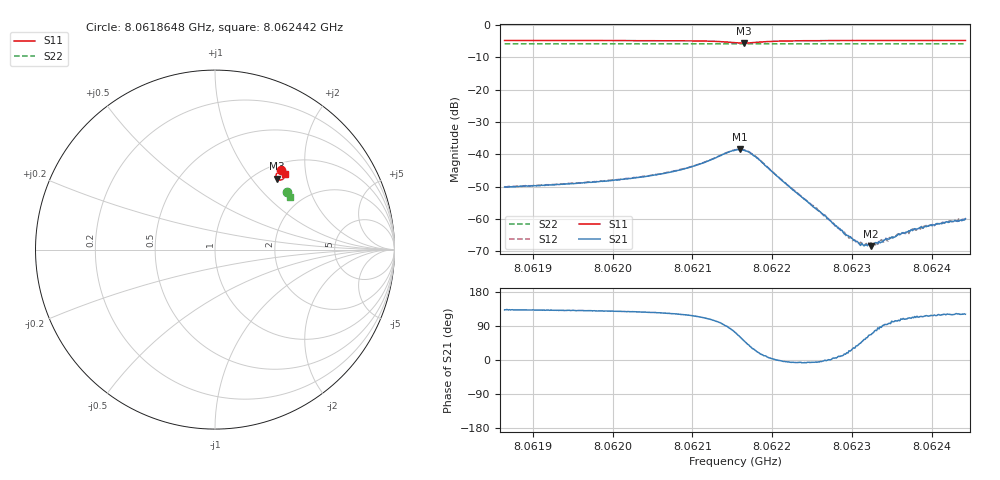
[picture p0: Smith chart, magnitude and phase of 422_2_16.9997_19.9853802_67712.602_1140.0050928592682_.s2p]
#  HZ  S  RI  R  50.00
! Rohde & Schwarz Vector Network Analyzer
! Rohde-Schwarz,ZNB20-2Port,1311601062101988,3.16
! Created: UTC 3/20/2024, 11:11:00 PM
! freq[Hz]  re:S11  im:S11  re:S21  im:S21  re:S12  im:S12  re:S22  im:S22
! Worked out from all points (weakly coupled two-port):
!   401 points, 8.0618648 GHz to 8.062442 GHz, reference 50 ohm
!   highest |S21| = -38.48 dB at 8.0621592 GHz (marker M1); lowest = -68.4 dB at 8.0623237 GHz (marker M2)
!   lowest |S11| = -5.6 dB at 8.062165 GHz (marker M3), VSWR 3.21, Z = 62.1 + j67.7 ohm
!   |S11| at or under -10 dB: nowhere
!   |S22| runs from -5.9 to -5.8 dB; largest |S21 - S12| = 0.00082
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8.06186484e9  0.3684 0.443  -0.00211 0.00231  -0.002 0.00245  0.3997 0.3198
8.06196152e9  0.3754 0.4366  -0.00235 0.00275  -0.00221 0.0029  0.4036 0.3148
8.06205819e9  0.3833 0.4268  -0.00279 0.00405  -0.00255 0.00422  0.4072 0.3097
8.06210292e9  0.3875 0.4161  -0.00291 0.00597  -0.00259 0.00621  0.4087 0.3071
8.06215342e9  0.3647 0.3876  0.00345 0.0111  0.0041 0.011  0.409 0.3037
8.0621592e9  0.3552 0.389  0.0056 0.0105  0.00619 0.0103  0.4088 0.3036
8.06216497e9  0.3465 0.3946  0.00739 0.00887  0.00796 0.00859  0.4087 0.3038
8.06217218e9  0.3404 0.4058  0.00856 0.00624  0.00894 0.00587  0.4088 0.3039
8.06218228e9  0.3414 0.4203  0.00807 0.00301  0.00827 0.00255  0.4094 0.3042
8.06221836e9  0.3622 0.4355  0.0034 -0.000269  0.00336 -0.000484  0.4117 0.3028
8.0622501e9  0.3719 0.4345  0.00159 -0.00016  0.0016 -0.000277  0.4134 0.3011
8.06229483e9  0.3793 0.4314  0.000529 0.000174  0.000519 0.00017  0.4151 0.2988
8.06231215e9  0.3814 0.4303  0.00028 0.00031  0.000302 0.0003  0.4155 0.2978
8.06232369e9  0.3826 0.4295  0.000149 0.00035  0.000144 0.000407  0.4159 0.2971
8.06232946e9  0.3833 0.4291  8.67e-05 0.000424  0.00011 0.000384  0.4164 0.297
8.06233379e9  0.3836 0.4287  6.43e-05 0.000442  7.69e-05 0.00047  0.4165 0.2966
8.06234678e9  0.385 0.428  -6.05e-05 0.000486  -3.06e-05 0.000516  0.417 0.296
8.06237564e9  0.3873 0.4261  -0.000259 0.000608  -0.000223 0.000662  0.4178 0.2945
8.06238285e9  0.3879 0.4257  -0.000276 0.000657  -0.000234 0.000654  0.4182 0.2941
8.06239006e9  0.3885 0.4253  -0.00032 0.000677  -0.000277 0.000721  0.4185 0.2937
8.06242037e9  0.3907 0.4236  -0.000455 0.000758  -0.0004 0.000814  0.4196 0.292
8.06244201e9  0.3923 0.4222  -0.000519 0.000871  -0.000483 0.000837  0.4202 0.291
